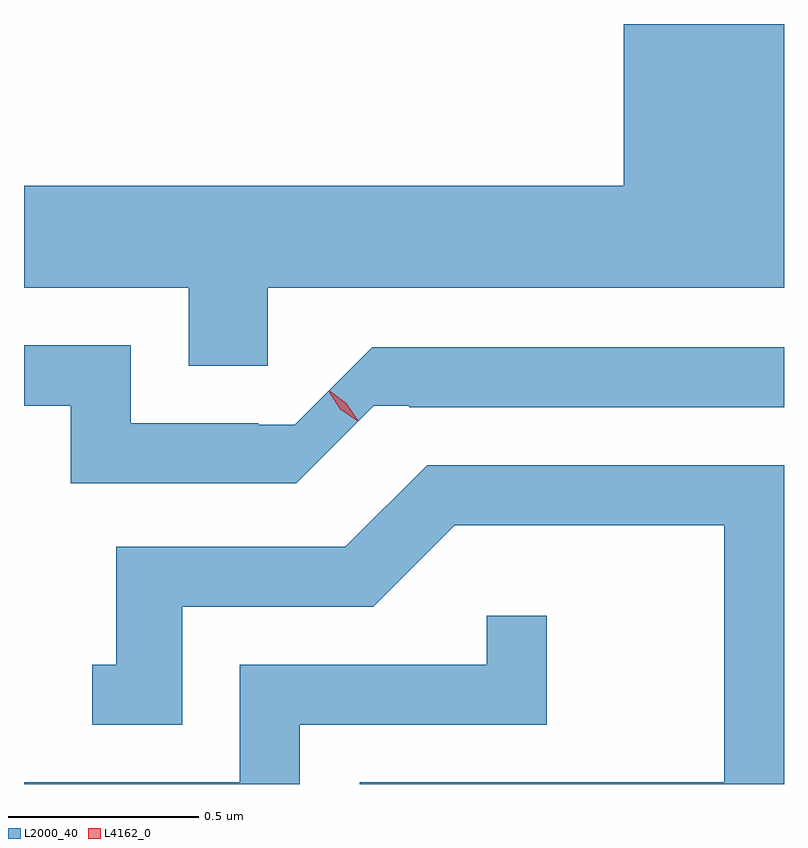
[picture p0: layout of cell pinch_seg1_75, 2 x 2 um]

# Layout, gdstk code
import gdstk
lib = gdstk.Library(unit=1e-6, precision=1e-09)
def P(c, l, *ps):  # polygons
    for p in ps: c.add(gdstk.Polygon(p, *l))
L2000_40 = (2000, 40)
L4162_0 = (4162, 0)

pinch_seg1_75 = lib.new_cell('pinch_seg1_75')
P(pinch_seg1_75, L2000_40, [(1450.159,841.856),(1451.518,841.856),(1451.518,842.55),(1451.096,842.55),(1451.096,842.124),(1449.518,842.124),(1449.518,841.856),(1449.951,841.856),(1449.951,841.651),(1450.159,841.651)],
  [(1450.438,841.545),(1450.532,841.545),(1450.532,841.541),(1451.518,841.541),(1451.518,841.699),(1450.434,841.699),(1450.23,841.495),(1450.135,841.495),(1450.135,841.499),(1449.799,841.499),(1449.799,841.704),(1449.518,841.704),(1449.518,841.546),(1449.641,841.546),(1449.641,841.341),(1450.234,841.341)],
  [(1451.518,841.389),(1450.579,841.389),(1450.364,841.174),(1449.761,841.174),(1449.761,840.864),(1449.698,840.864),(1449.698,840.706),(1449.934,840.706),(1449.934,841.016),(1450.437,841.016),(1450.652,841.231),(1451.361,841.231),(1451.361,840.554),(1450.401,840.554),(1450.401,840.55),(1451.518,840.55)],
  [(1450.244,840.706),(1450.894,840.706),(1450.894,840.993),(1450.736,840.993),(1450.736,840.864),(1450.086,840.864),(1450.086,840.554),(1449.518,840.554),(1449.518,840.55),(1450.244,840.55)])
P(pinch_seg1_75, L4162_0, [(1450.392,841.507),(1450.35,841.536),(1450.322,841.578),(1450.322,841.579),(1450.323,841.579),(1450.365,841.55),(1450.392,841.508),(1450.392,841.507)],
  [(1450.396,841.505),(1450.352,841.538),(1450.321,841.584),(1450.321,841.585),(1450.322,841.585),(1450.366,841.552),(1450.397,841.506),(1450.397,841.505)])

lib.write_gds('pinch_seg1_75.gds')
